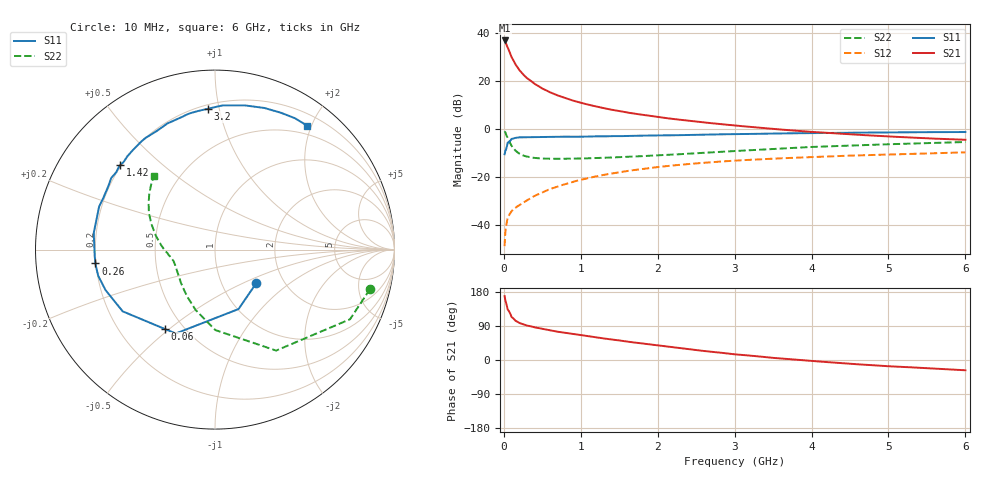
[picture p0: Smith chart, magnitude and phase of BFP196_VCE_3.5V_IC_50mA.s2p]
! Infineon Technologies  Discrete & RF Semiconductors
! BFP196
! VCE = 3.5 V,  IC =  50mA
! Common Emitter S-Parameters:  Jan 2016
# GHz  S  MA  R  50
!  f  S11  S21  S12  S22
! GHz  MAG  ANG  MAG  ANG  MAG  ANG  MAG  ANG
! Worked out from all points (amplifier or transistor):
!   210 points, 10 MHz to 6 GHz, reference 50 ohm
!   highest |S21| = 36.9 dB at 10 MHz (marker M1)
!   |S21| within 3 dB of that: start of sweep to 51.19 MHz
!   unconditionally stable (mu >= 1): 462.2 MHz to 4.37 GHz
!   at 185 MHz: K = 0.72, MSG = 28.7 dB, |S12| = -32.1 dB
!   at 1.52 GHz: K = 1.08, MAG = 10.9 dB, |S12| = -17.9 dB
!   at 6 GHz: K = 0.97, MSG = 2.6 dB, |S12| = -9.8 dB
!   S11 on the Smith chart (normalised r, x): 10 MHz: 1.45, -0.60; 60 MHz: 0.40, -0.48; 260 MHz: 0.20, -0.06; 1.42 GHz: 0.20, +0.37; 3.2 GHz: 0.23, +0.93; 6 GHz: 0.36, +1.94
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0.01  0.2964 -39.3  69.7 168.5  0.0036 81.4  0.8915 -14.3
0.02  0.3563 -68.4  65.33 156.9  0.0072 72.5  0.8464 -27.3
0.05  0.5163 -115.1  49.83 133.3  0.0142 55.4  0.6577 -58.8
0.06  0.5229 -122.1  45.82 130.7  0.0152 53.9  0.6047 -63.2
0.1  0.6187 -146.2  31.36 113.6  0.0192 49.3  0.4481 -89.8
0.125  0.6302 -153.1  26.67 109.5  0.021 49.5  0.396 -97.7
0.15  0.6504 -159.7  22.16 103.8  0.0228 49.7  0.3536 -107.7
0.155  0.6515 -160.5  21.63 103.3  0.0231 50.0  0.3483 -108.8
0.2  0.6669 -167.4  16.99 97.9  0.0257 52.0  0.3064 -119.8
0.26  0.6704 -173.4  13.21 93.4  0.0294 54.9  0.2763 -130.4
0.3  0.6712 -176.6  11.46 90.9  0.0324 56.6  0.2655 -135.5
0.4  0.6752 176.3  8.687 86.2  0.0401 59.2  0.2485 -145.2
0.5  0.6818 172.0  6.945 82.2  0.0474 61.6  0.2413 -151.5
0.7  0.6837 163.1  4.985 74.6  0.063 62.4  0.238 -159.0
1.02  0.6884 151.3  3.437 65.0  0.0885 60.6  0.2418 -166.1
1.42  0.7071 138.4  2.48 53.9  0.119 56.4  0.2544 -171.7
2.02  0.7327 121.2  1.754 38.1  0.1616 47.7  0.2826 179.9
3.1  0.7816 94.8  1.14 13.4  0.2227 32.0  0.3525 163.7
3.2  0.7859 92.8  1.103 11.6  0.227 30.6  0.3598 162.1
4.1  0.8223 76.8  0.847 -4.0  0.2625 19.4  0.4263 149.8
5.1  0.8477 63.2  0.684 -17.4  0.2964 8.2  0.4844 138.8
6  0.8606 53.3  0.594 -27.1  0.3242 -1.8  0.5332 129.4
